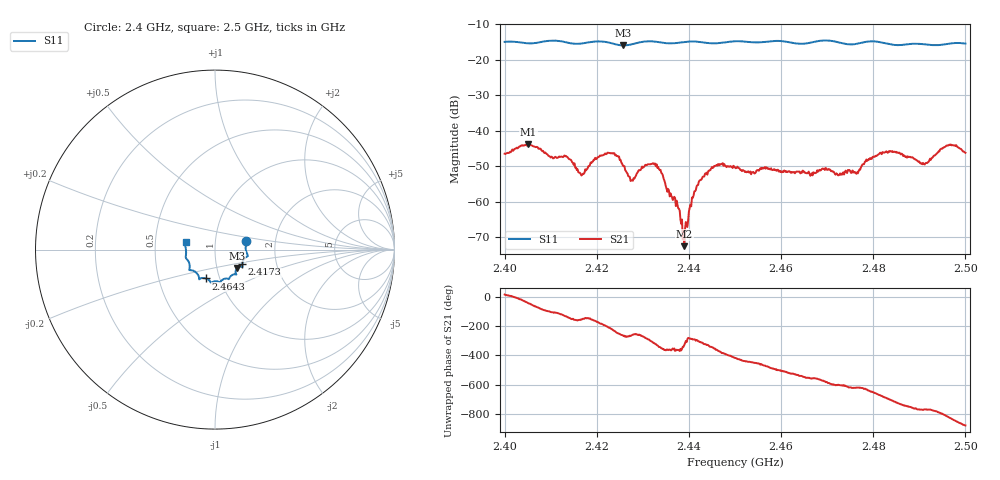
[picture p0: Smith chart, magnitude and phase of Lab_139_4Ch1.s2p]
# Hz S RI R 50
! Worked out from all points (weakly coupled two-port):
!   601 points, 2.4 GHz to 2.5 GHz, reference 50 ohm
!   highest |S21| = -43.75 dB at 2.4052 GHz (marker M1); lowest = -72.5 dB at 2.439 GHz (marker M2)
!   lowest |S11| = -15.9 dB at 2.4257 GHz (marker M3), VSWR 1.38, Z = 62.5 - j13.1 ohm
!   |S11| at or under -10 dB: start of sweep to end of sweep
!   S12 and S22 are empty: the file has one direction only
!   S11 on the Smith chart (normalised r, x): 2.4 GHz: 1.41, +0.14; 2.4173 GHz: 1.34, -0.23; 2.4643 GHz: 0.86, -0.29; 2.5 GHz: 0.72, +0.06
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2.4e9  0.1728 0.0485  0.00457 0.00138  0 0  0 0
2.405167e9  0.1706 0.0123  0.00477 -0.00441  0 0  0 0
2.413333e9  0.1715 -0.0431  -0.00299 -0.00325  0 0  0 0
2.416667e9  0.1529 -0.0743  -0.00208 -0.0011  0 0  0 0
2.417333e9  0.152 -0.0819  -0.00219 -0.00134  0 0  0 0
2.422333e9  0.1497 -0.0948  -0.00453 0.00195  0 0  0 0
2.425667e9  0.1228 -0.102  -0.000418 0.00321  0 0  0 0
2.427667e9  0.115 -0.12  -0.000306 0.00198  0 0  0 0
2.430833e9  0.1188 -0.1386  0.000814 0.00317  0 0  0 0
2.433333e9  0.1129 -0.1376  0.0028 0.0013  0 0  0 0
2.437333e9  0.0849 -0.1505  0.00104 -2.17e-05  0 0  0 0
2.439e9  0.08 -0.1595  0.000203 0.000123  0 0  0 0
2.442667e9  0.0715 -0.1629  0.00137 0.00152  0 0  0 0
2.445833e9  0.0488 -0.1641  0.00324 -7.16e-05  0 0  0 0
2.45e9  0.0286 -0.181  0.00165 -0.00255  0 0  0 0
2.464333e9  -0.0503 -0.161  -0.00259 1.51e-06  0 0  0 0
2.466667e9  -0.0761 -0.1591  -0.0024 0.000781  0 0  0 0
2.476333e9  -0.1197 -0.118  -0.000389 0.00245  0 0  0 0
2.483333e9  -0.1411 -0.0901  0.00479 0.00186  0 0  0 0
2.490833e9  -0.1626 -0.0353  0.00215 -0.00279  0 0  0 0
2.496333e9  -0.1674 0.0223  -0.00131 -0.0061  0 0  0 0
2.5e9  -0.164 0.0427  -0.00459 -0.00174  0 0  0 0
